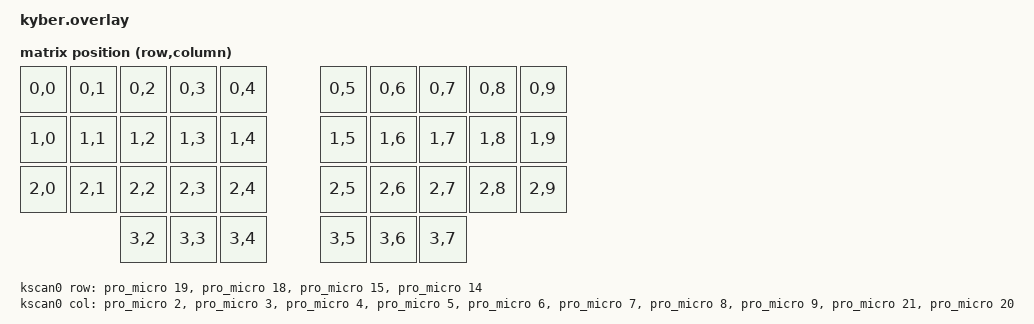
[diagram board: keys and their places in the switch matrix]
#include <dt-bindings/zmk/matrix_transform.h>
#include "kyber-layouts.dtsi"

&physical_layout0 {
    transform = <&matrix_transform0>;
};

/ {
    chosen {
        zmk,kscan = &kscan0;
        zmk,physical-layout = &physical_layout0;
    };

    matrix_transform0: keymap_transform_0 {
        compatible = "zmk,matrix-transform";
        columns = <10>;
        rows = <4>;
        map = < 
RC(0,0) RC(0,1) RC(0,2) RC(0,3) RC(0,4) RC(0,5) RC(0,6) RC(0,7) RC(0,8) RC(0,9)
RC(1,0) RC(1,1) RC(1,2) RC(1,3) RC(1,4) RC(1,5) RC(1,6) RC(1,7) RC(1,8) RC(1,9)
RC(2,0) RC(2,1) RC(2,2) RC(2,3) RC(2,4) RC(2,5) RC(2,6) RC(2,7) RC(2,8) RC(2,9)
                RC(3,2) RC(3,3) RC(3,4) RC(3,5) RC(3,6) RC(3,7) 
        >;
    };

    kscan0: kscan_0 {
        compatible = "zmk,kscan-gpio-matrix";
        label = "KSCAN";
        diode-direction = "col2row";
        wakeup-source;

        row-gpios
            = <&pro_micro 19 (GPIO_ACTIVE_HIGH | GPIO_PULL_DOWN)>  // F6
            , <&pro_micro 18 (GPIO_ACTIVE_HIGH | GPIO_PULL_DOWN)>  // F7
            , <&pro_micro 15 (GPIO_ACTIVE_HIGH | GPIO_PULL_DOWN)> // B1
            , <&pro_micro 14 (GPIO_ACTIVE_HIGH | GPIO_PULL_DOWN)> // B3
            ;

        col-gpios
            = <&pro_micro 2 GPIO_ACTIVE_HIGH>   // D1
            , <&pro_micro 3 GPIO_ACTIVE_HIGH>   // D0
            , <&pro_micro 4 GPIO_ACTIVE_HIGH>   // D4
            , <&pro_micro 5 GPIO_ACTIVE_HIGH>   // C6
            , <&pro_micro 6 GPIO_ACTIVE_HIGH>   // D7
            , <&pro_micro 7 GPIO_ACTIVE_HIGH>   // E6
            , <&pro_micro 8 GPIO_ACTIVE_HIGH>   // B4
            , <&pro_micro 9 GPIO_ACTIVE_HIGH>   // B5
            , <&pro_micro 21 GPIO_ACTIVE_HIGH>  // F4
            , <&pro_micro 20 GPIO_ACTIVE_HIGH>  // F5
            ;    };
};
